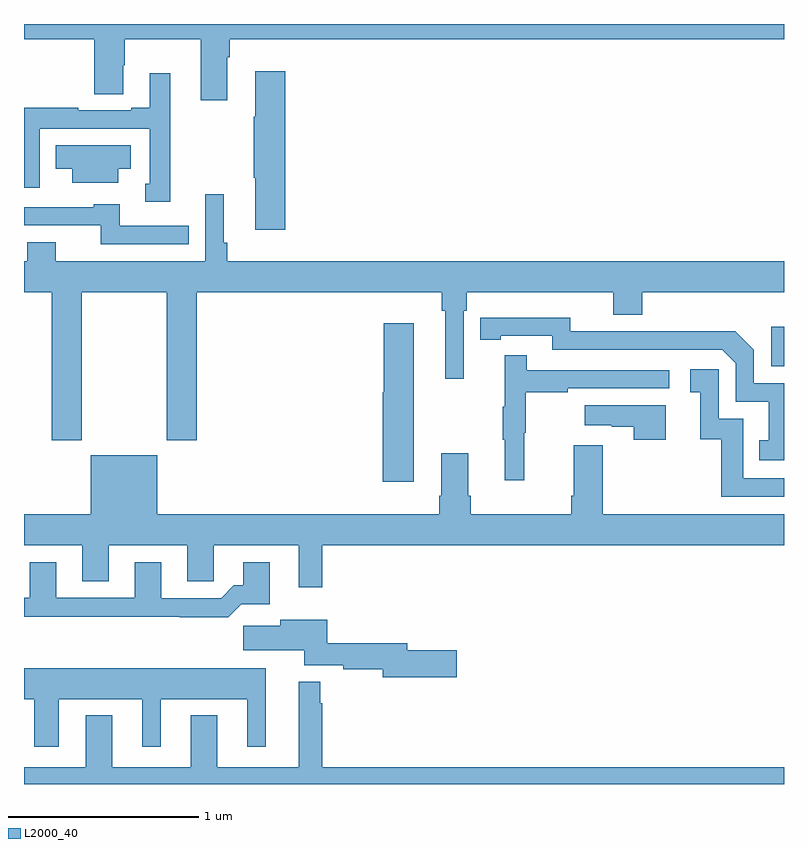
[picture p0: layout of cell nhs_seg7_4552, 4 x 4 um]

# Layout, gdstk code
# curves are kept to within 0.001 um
import gdstk
lib = gdstk.Library(unit=1e-6, precision=1e-09)
def R(c, l, rs):  # rectangles x0, y0, x1, y1
    for r in rs: c.add(gdstk.rectangle(r[:2], r[2:], *l))
def P(c, l, *ps):  # polygons
    for p in ps: c.add(gdstk.Polygon(p, *l))
L2000_40 = (2000, 40)

nhs_seg7_4552 = lib.new_cell('nhs_seg7_4552')
R(nhs_seg7_4552, L2000_40, [(400.932,1028.199,401,1028.407)])
P(nhs_seg7_4552, L2000_40, [(398.071,1029.824),(398.084,1029.824),(398.084,1029.92),(401,1029.92),(401,1030),(397,1030),(397,1029.92),(397.37,1029.92),(397.37,1029.631),(397.522,1029.631),(397.522,1029.782),(397.53,1029.782),(397.53,1029.92),(397.931,1029.92),(397.931,1029.6),(398.071,1029.6)],
  [(398.375,1029.751),(398.216,1029.751),(398.216,1029.512),(398.209,1029.512),(398.209,1029.19),(398.216,1029.19),(398.216,1028.916),(398.375,1028.916)],
  [(397.771,1029.742),(397.661,1029.742),(397.661,1029.559),(397.565,1029.559),(397.565,1029.546),(397.286,1029.546),(397.286,1029.559),(397,1029.559),(397,1029.138),(397.083,1029.138),(397.083,1029.45),(397.662,1029.45),(397.662,1029.159),(397.637,1029.159),(397.637,1029.065),(397.771,1029.065)],
  [(397.495,1029.239),(397.561,1029.239),(397.561,1029.361),(397.168,1029.361),(397.168,1029.239),(397.253,1029.239),(397.253,1029.164),(397.495,1029.164)],
  [(397.305,1028.588),(397.75,1028.588),(397.75,1027.809),(397.91,1027.809),(397.91,1028.588),(399.199,1028.588),(399.199,1028.492),(399.218,1028.492),(399.218,1028.132),(399.315,1028.132),(399.315,1028.492),(399.329,1028.492),(399.329,1028.588),(400.1,1028.588),(400.1,1028.471),(400.253,1028.471),(400.253,1028.588),(401,1028.588),(401,1028.752),(398.069,1028.752),(398.069,1028.848),(398.05,1028.848),(398.05,1029.103),(397.953,1029.103),(397.953,1028.752),(397.168,1028.752),(397.168,1028.851),(397.016,1028.851),(397.016,1028.752),(397,1028.752),(397,1028.588),(397.145,1028.588),(397.145,1027.809),(397.305,1027.809)],
  [(397.868,1028.937),(397.504,1028.937),(397.504,1029.052),(397.368,1029.052),(397.368,1029.036),(397,1029.036),(397,1028.94),(397.405,1028.94),(397.405,1028.841),(397.868,1028.841)],
  [(401,1028.109),(400.842,1028.109),(400.842,1028.286),(400.744,1028.384),(400.336,1028.384),(400.336,1028.382),(399.876,1028.382),(399.876,1028.455),(399.4,1028.454),(399.4,1028.338),(399.508,1028.338),(399.508,1028.358),(399.78,1028.358),(399.78,1028.286),(400.674,1028.286),(400.746,1028.214),(400.746,1028.013),(400.919,1028.013),(400.919,1027.809),(400.87,1027.809),(400.87,1027.704),(401,1027.704)],
  [(399.052,1028.425),(398.894,1028.425),(398.894,1028.061),(398.888,1028.061),(398.888,1027.59),(399.052,1027.59)],
  [(399.632,1027.848),(399.64,1027.848),(399.64,1028.062),(399.863,1028.062),(399.863,1028.082),(400.396,1028.082),(400.396,1028.178),(399.647,1028.178),(399.647,1028.257),(399.53,1028.257),(399.53,1027.985),(399.519,1027.985),(399.519,1027.811),(399.53,1027.811),(399.53,1027.599),(399.632,1027.599)],
  [(401,1027.608),(400.785,1027.608),(400.785,1027.923),(400.656,1027.923),(400.656,1028.182),(400.506,1028.182),(400.506,1028.061),(400.559,1028.061),(400.559,1027.815),(400.669,1027.815),(400.669,1027.512),(401,1027.512)],
  [(400.378,1027.993),(399.951,1027.993),(399.951,1027.889),(400.094,1027.889),(400.094,1027.879),(400.208,1027.879),(400.208,1027.812),(400.378,1027.812)],
  [(398.569,1027.256),(401,1027.256),(401,1027.42),(400.046,1027.42),(400.046,1027.783),(399.893,1027.783),(399.893,1027.516),(399.881,1027.516),(399.881,1027.42),(399.35,1027.42),(399.35,1027.516),(399.337,1027.516),(399.337,1027.741),(399.197,1027.741),(399.197,1027.516),(399.185,1027.516),(399.185,1027.42),(397.702,1027.42),(397.702,1027.729),(397.352,1027.729),(397.352,1027.42),(397,1027.42),(397,1027.256),(397.307,1027.256),(397.307,1027.066),(397.447,1027.066),(397.447,1027.256),(397.859,1027.256),(397.859,1027.066),(397.998,1027.066),(397.998,1027.256),(398.447,1027.256),(398.447,1027.035),(398.569,1027.035)],
  [(398.144,1026.947),(398.293,1026.947),(398.293,1027.168),(398.153,1027.168),(398.153,1027.045),(398.104,1027.045),(398.037,1026.978),(397.723,1026.978),(397.723,1027.168),(397.583,1027.168),(397.583,1026.981),(397.171,1026.981),(397.171,1027.168),(397.031,1027.168),(397.031,1026.981),(397,1026.981),(397,1026.88),(397.819,1026.88),(397.819,1026.878),(398.075,1026.878)],
  [(399.277,1026.704),(399.016,1026.704),(399.016,1026.74),(398.597,1026.74),(398.597,1026.865),(398.348,1026.865),(398.348,1026.833),(398.154,1026.833),(398.154,1026.704),(398.474,1026.704),(398.474,1026.624),(398.68,1026.624),(398.68,1026.604),(398.888,1026.604),(398.888,1026.562),(399.277,1026.562)],
  [(397.183,1026.446),(397.622,1026.446),(397.622,1026.195),(397.72,1026.195),(397.72,1026.446),(398.174,1026.446),(398.174,1026.195),(398.272,1026.195),(398.272,1026.61),(397,1026.61),(397,1026.446),(397.055,1026.446),(397.055,1026.195),(397.183,1026.195)],
  [(401,1026.088),(398.569,1026.088),(398.569,1026.425),(398.558,1026.425),(398.558,1026.538),(398.447,1026.538),(398.447,1026.088),(398.017,1026.088),(398.017,1026.361),(397.877,1026.361),(397.877,1026.088),(397.465,1026.088),(397.465,1026.361),(397.325,1026.361),(397.325,1026.088),(397,1026.088),(397,1026),(401,1026)])

lib.write_gds('nhs_seg7_4552.gds')
